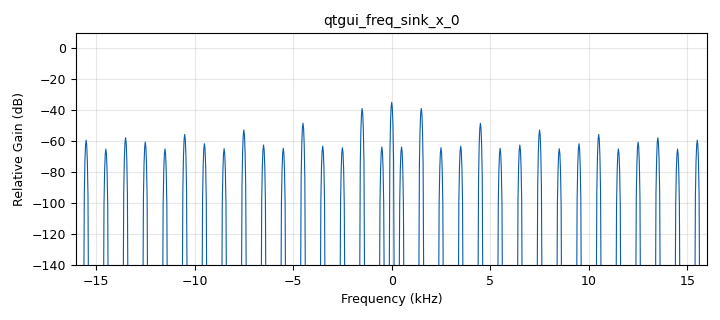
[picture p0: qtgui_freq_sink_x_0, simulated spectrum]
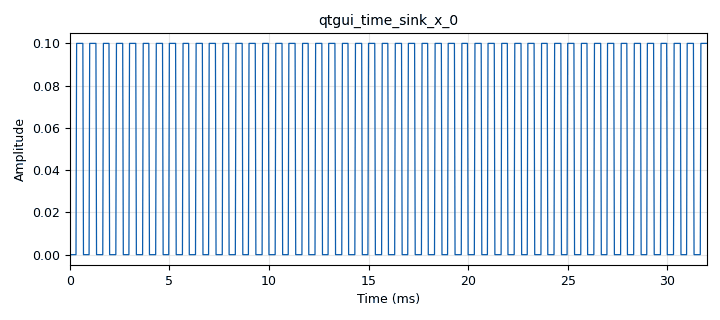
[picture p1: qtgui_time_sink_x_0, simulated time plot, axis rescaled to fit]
options:
  parameters:
    generate_options: qt_gui
    id: LAB_Comu_I
    output_language: python
    title: Primer Flujograma
  states: {}

blocks:
- name: amplitud
  id: variable_qtgui_range
  parameters:
    start: '0'
    step: '1'
    stop: '5'
    value: '1'
  states: {}
- name: frequency
  id: variable
  parameters:
    value: samp_rate/3
  states: {state: disabled}
- name: frequency
  id: variable_qtgui_range
  parameters:
    start: '-samp_rate/2'
    step: '100'
    stop: samp_rate/2
    value: '0'
  states: {}
- name: samp_rate
  id: variable
  parameters:
    value: '32000'
  states: {}
- name: analog_sig_source_x_0
  id: analog_sig_source_x
  parameters:
    amp: '0.1'
    freq: '1500'
    offset: '0'
    phase: '0'
    samp_rate: samp_rate
    type: float
    waveform: analog.GR_SQR_WAVE
  states: {}
- name: blocks_throttle_0
  id: blocks_throttle
  parameters:
    samples_per_second: samp_rate
    type: float
  states: {}
- name: qtgui_freq_sink_x_0
  id: qtgui_freq_sink_x
  parameters:
    bw: samp_rate
    fc: '0'
    fftsize: '1024'
    type: float
  states: {}
- name: qtgui_time_sink_x_0
  id: qtgui_time_sink_x
  parameters:
    size: '1024'
    srate: samp_rate
    type: float
    ymax: '5'
    ymin: '-5'
  states: {}

connections:
- [analog_sig_source_x_0, '0', blocks_throttle_0, '0']
- [blocks_throttle_0, '0', qtgui_freq_sink_x_0, '0']
- [blocks_throttle_0, '0', qtgui_time_sink_x_0, '0']

metadata:
  file_format: 1
  grc_version: 3.10.5.1
